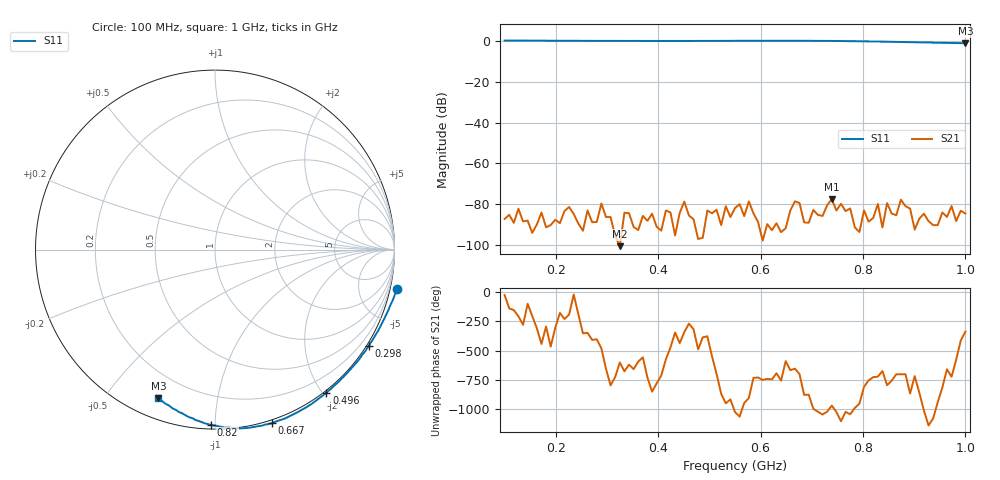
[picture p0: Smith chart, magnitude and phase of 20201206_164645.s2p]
# HZ S RI R 50
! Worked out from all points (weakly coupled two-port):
!   101 points, 100 MHz to 1 GHz, reference 50 ohm
!   highest |S21| = -77.50 dB at 739 MHz (marker M1); lowest = -100.6 dB at 325 MHz (marker M2)
!   lowest |S11| = -1.1 dB at 1 GHz (marker M3), VSWR 16.48, Z = 4.47 - j34.3 ohm
!   |S11| at or under -10 dB: nowhere
!   S12 and S22 are empty: the file has one direction only
!   S11 on the Smith chart (normalised r, x): 100 MHz: -1.50, -9.11; 298 MHz: -0.07, -3.47; 496 MHz: -0.03, -2.05; 667 MHz: -0.03, -1.38; 820 MHz: 0.02, -0.98; 1 GHz: 0.09, -0.69
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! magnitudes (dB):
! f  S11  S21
! 100 MHz  0.3  -87.3
! 253 MHz  0.1  -93.0
! 298 MHz  0.1  -86.3
! 325 MHz  0.1  -100.6
! 406 MHz  0.1  -93.0
! 451 MHz  0.1  -78.7
! 496 MHz  0.1  -83.2
! 550 MHz  0.1  -81.9
! 577 MHz  0.1  -78.7
! 586 MHz  0.1  -84.5
! 658 MHz  0.1  -83.1
! 667 MHz  0.2  -78.7
! 703 MHz  0.1  -82.9
! 730 MHz  0.1  -80.5
! 739 MHz  0.1  -77.5
! 748 MHz  0.1  -83.1
! 820 MHz  -0.2  -86.8
! 856 MHz  -0.4  -84.6
! 865 MHz  -0.4  -85.5
! 874 MHz  -0.5  -77.8
! 883 MHz  -0.5  -81.0
! 1 GHz  -1.1  -84.6
